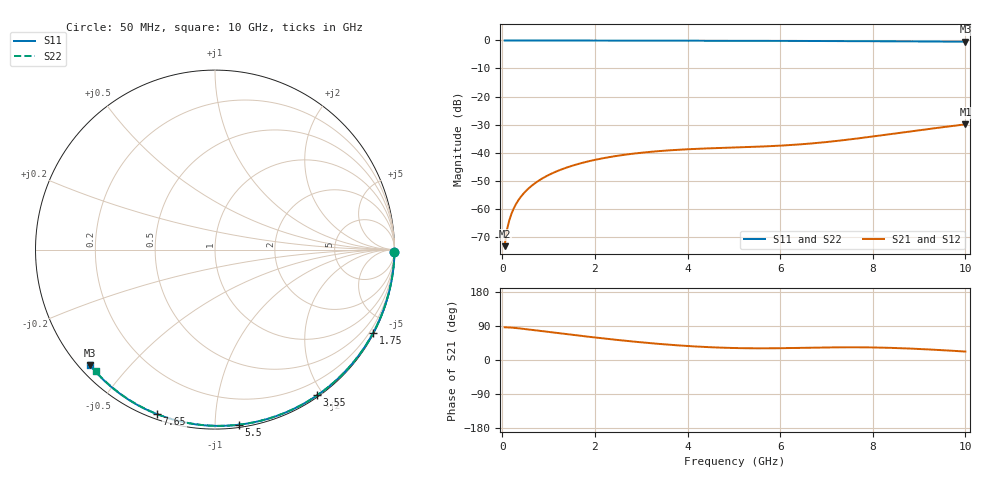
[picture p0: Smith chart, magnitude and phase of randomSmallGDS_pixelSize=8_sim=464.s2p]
! freq	dB(S11)	phase(S11)	dB(S12)	phase(S12)
!  dB(S21)	phase(S21)	dB(S22)	phase(S22)
!S-par simulation data
#  GHz  S  DB  R 50
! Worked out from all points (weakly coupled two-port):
!   200 points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, 50 MHz to 10 GHz, reference 50 ohm
!   highest |S21| = -29.92 dB at 10 GHz (marker M1); lowest = -73.4 dB at 50 MHz (marker M2)
!   lowest |S11| = -0.5 dB at 10 GHz (marker M3), VSWR 38.21, Z = 1.51 - j19.6 ohm
!   |S11| at or under -10 dB: nowhere
!   |S22| runs from -0.4 to 0.0 dB; largest |S21 - S12| = 0
!   S11 on the Smith chart (normalised r, x): 50 MHz: open; 1.75 GHz: 0.04, -4.04; 3.55 GHz: 0.02, -1.92; 5.5 GHz: 0.02, -1.15; 7.65 GHz: 0.02, -0.71; 10 GHz: 0.03, -0.39
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0.05  -0.00 -0.8  -73.38 86.4  -73.38 86.4  -0.00 -0.8
0.1  -0.00 -1.6  -67.62 86.1  -67.62 86.1  -0.00 -1.6
0.15  -0.00 -2.4  -64.19 85.9  -64.19 85.9  -0.00 -2.4
0.2  -0.00 -3.2  -61.73 85.5  -61.73 85.5  -0.00 -3.2
0.25  -0.00 -4.0  -59.82 84.9  -59.82 84.9  -0.00 -4.0
0.35  -0.00 -5.7  -56.92 83.7  -56.92 83.7  -0.00 -5.5
0.5  -0.01 -8.1  -53.86 81.6  -53.86 81.6  -0.01 -7.9
0.7  -0.01 -11.3  -50.99 78.6  -50.99 78.6  -0.01 -11.0
1  -0.02 -16.0  -48.00 74.1  -48.00 74.1  -0.02 -15.7
1.35  -0.03 -21.6  -45.57 68.8  -45.57 68.8  -0.03 -21.1
1.75  -0.04 -27.8  -43.57 63.0  -43.57 63.0  -0.03 -27.2
2.5  -0.05 -39.4  -41.11 52.8  -41.11 52.8  -0.05 -38.5
3.4  -0.07 -52.8  -39.45 42.3  -39.45 42.3  -0.07 -51.7
3.55  -0.07 -55.0  -39.26 40.8  -39.26 40.8  -0.07 -53.9
4.3  -0.09 -65.7  -38.59 34.8  -38.59 34.8  -0.09 -64.4
5.05  -0.12 -76.1  -38.16 31.5  -38.16 31.5  -0.11 -74.6
5.5  -0.13 -82.2  -37.90 30.8  -37.90 30.8  -0.13 -80.6
6.7  -0.19 -97.7  -36.71 32.5  -36.71 32.5  -0.18 -95.8
7.65  -0.24 -109.4  -35.00 33.6  -35.00 33.6  -0.24 -107.3
8.35  -0.30 -117.8  -33.48 32.1  -33.48 32.1  -0.29 -115.6
9.2  -0.37 -127.9  -31.61 27.9  -31.61 27.9  -0.36 -125.4
10  -0.45 -137.2  -29.92 22.3  -29.92 22.3  -0.45 -134.5
